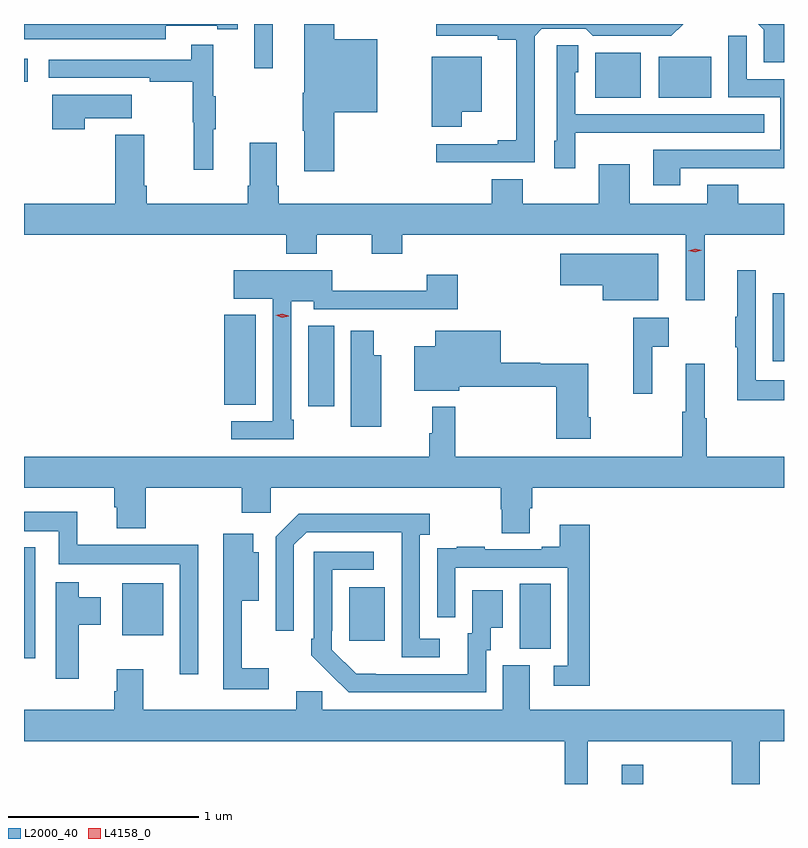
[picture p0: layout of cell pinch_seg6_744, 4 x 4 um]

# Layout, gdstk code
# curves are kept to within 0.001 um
import gdstk
lib = gdstk.Library(unit=1e-6, precision=1e-09)
def R(c, l, rs):  # rectangles x0, y0, x1, y1
    for r in rs: c.add(gdstk.rectangle(r[:2], r[2:], *l))
def P(c, l, *ps):  # polygons
    for p in ps: c.add(gdstk.Polygon(p, *l))
L2000_40 = (2000, 40)
L4158_0 = (4158, 0)

pinch_seg6_744 = lib.new_cell('pinch_seg6_744')
R(pinch_seg6_744, L2000_40, [(305.537,989.734,305.651,989.836), (302.392,990.396,302.451,990.979), (305,990.445,305.164,990.788), (304.103,990.489,304.291,990.769), (302.909,990.518,303.124,990.79), (303.887,991.722,304.024,992.147), (303.446,991.729,303.613,992.203), (306.332,991.958,306.392,992.317), (305.399,993.347,305.638,993.583), (305.732,993.347,306.01,993.562), (302.392,993.429,302.413,993.55), (303.603,993.501,303.7,993.734)])
P(pinch_seg6_744, L2000_40, [(304.025,993.269),(304.252,993.269),(304.252,993.655),(304.025,993.655),(304.025,993.734),(303.866,993.734),(303.866,993.373),(303.859,993.373),(303.859,993.173),(303.866,993.173),(303.866,992.958),(304.025,992.958)],
  [(303.138,993.726),(303.41,993.726),(303.41,993.706),(303.518,993.706),(303.518,993.734),(302.392,993.734),(302.392,993.654),(303.138,993.654)],
  [(306.392,993.734),(306.256,993.734),(306.285,993.705),(306.285,993.534),(306.392,993.534)],
  [(305.079,993.669),(305.118,993.708),(305.349,993.708),(305.385,993.672),(305.799,993.672),(305.861,993.734),(304.563,993.734),(304.563,993.672),(304.886,993.672),(304.886,993.65),(304.982,993.65),(304.982,993.122),(304.886,993.122),(304.886,993.102),(304.563,993.102),(304.563,993.006),(305.079,993.006)],
  [(305.845,992.976),(306.275,992.976),(306.275,992.975),(306.392,992.975),(306.392,993.444),(306.195,993.444),(306.195,993.673),(306.099,993.673),(306.099,993.348),(306.372,993.348),(306.372,993.072),(305.705,993.072),(305.705,992.886),(305.845,992.886)],
  [(303.389,993.179),(303.4,993.179),(303.4,993.353),(303.389,993.353),(303.389,993.625),(303.271,993.625),(303.271,993.546),(302.523,993.546),(302.523,993.45),(303.055,993.45),(303.055,993.43),(303.279,993.43),(303.279,993.216),(303.286,993.216),(303.286,992.967),(303.389,992.967)],
  [(305.292,993.161),(305.609,993.161),(305.609,993.162),(306.287,993.162),(306.287,993.258),(305.292,993.258),(305.292,993.48),(305.308,993.48),(305.308,993.623),(305.196,993.623),(305.196,993.12),(305.183,993.12),(305.183,992.976),(305.292,992.976)],
  [(304.696,993.272),(304.801,993.272),(304.801,993.562),(304.538,993.562),(304.538,993.192),(304.696,993.192)],
  [(302.711,993.239),(302.959,993.239),(302.959,993.361),(302.54,993.361),(302.54,993.18),(302.711,993.18)],
  [(305.974,992.624),(306.392,992.624),(306.392,992.788),(306.151,992.788),(306.151,992.887),(305.987,992.887),(305.987,992.788),(305.581,992.788),(305.581,992.995),(305.417,992.995),(305.417,992.788),(305.017,992.788),(305.017,992.917),(304.853,992.917),(304.853,992.788),(303.734,992.788),(303.734,992.884),(303.721,992.884),(303.721,993.109),(303.581,993.109),(303.581,992.884),(303.569,992.884),(303.569,992.788),(303.038,992.788),(303.038,992.884),(303.025,992.884),(303.025,993.151),(302.873,993.151),(302.873,992.788),(302.392,992.788),(302.392,992.624),(303.773,992.624),(303.773,992.525),(303.933,992.525),(303.933,992.624),(304.222,992.624),(304.222,992.525),(304.382,992.525),(304.382,992.624),(305.876,992.624),(305.876,992.28),(305.974,992.28)],
  [(305.731,992.524),(305.214,992.524),(305.214,992.359),(305.438,992.359),(305.438,992.279),(305.731,992.279)],
  [(306.392,991.858),(306.243,991.858),(306.243,992.437),(306.146,992.437),(306.146,992.192),(306.135,992.192),(306.135,992.032),(306.146,992.032),(306.146,991.754),(306.392,991.754)],
  [(303.811,991.651),(303.798,991.651),(303.798,992.276),(303.918,992.276),(303.918,992.232),(304.676,992.232),(304.676,992.413),(304.511,992.413),(304.511,992.33),(304.014,992.33),(304.014,992.437),(303.495,992.437),(303.495,992.288),(303.702,992.288),(303.702,991.644),(303.483,991.644),(303.483,991.548),(303.811,991.548)],
  [(305.699,992.036),(305.785,992.036),(305.785,992.188),(305.599,992.188),(305.599,991.788),(305.699,991.788)],
  [(305.375,991.663),(305.362,991.663),(305.362,991.945),(305.108,991.945),(305.108,991.952),(304.9,991.952),(304.9,992.119),(304.556,992.119),(304.556,992.038),(304.445,992.038),(304.445,991.805),(304.684,991.805),(304.684,991.824),(305.192,991.824),(305.192,991.551),(305.375,991.551)],
  [(304.273,991.99),(304.234,991.99),(304.234,992.119),(304.112,992.119),(304.112,991.613),(304.273,991.613)],
  [(305.053,991.186),(305.066,991.186),(305.066,991.292),(306.392,991.292),(306.392,991.456),(305.986,991.456),(305.986,991.658),(305.974,991.658),(305.974,991.945),(305.876,991.945),(305.876,991.692),(305.857,991.692),(305.857,991.456),(304.661,991.456),(304.661,991.72),(304.54,991.72),(304.54,991.58),(304.525,991.58),(304.525,991.456),(302.392,991.456),(302.392,991.292),(302.867,991.292),(302.867,991.191),(302.879,991.191),(302.879,991.079),(303.032,991.079),(303.032,991.292),(303.539,991.292),(303.539,991.161),(303.69,991.161),(303.69,991.292),(304.901,991.292),(304.901,991.179),(304.906,991.179),(304.906,991.054),(305.053,991.054)],
  [(303.31,990.994),(302.672,990.994),(302.672,991.168),(302.392,991.168),(302.392,991.064),(302.574,991.064),(302.574,990.89),(303.213,990.89),(303.213,990.312),(303.31,990.312)],
  [(304.579,990.498),(304.476,990.498),(304.476,991.046),(304.528,991.046),(304.528,991.156),(303.838,991.156),(303.717,991.035),(303.717,990.54),(303.813,990.54),(303.813,990.993),(303.879,991.059),(304.38,991.059),(304.38,990.402),(304.579,990.402)],
  [(305.369,991.099),(305.213,991.099),(305.213,990.982),(305.117,990.982),(305.117,990.969),(304.817,990.969),(304.817,990.982),(304.669,990.982),(304.669,990.975),(304.567,990.975),(304.567,990.866),(304.566,990.866),(304.566,990.612),(304.662,990.612),(304.662,990.873),(305.253,990.873),(305.253,990.357),(305.181,990.357),(305.181,990.252),(305.369,990.252)],
  [(303.679,990.343),(303.539,990.343),(303.539,990.698),(303.628,990.698),(303.628,990.955),(303.598,990.955),(303.598,991.051),(303.44,991.051),(303.44,990.234),(303.679,990.234)],
  [(304.824,990.438),(304.849,990.438),(304.849,990.557),(304.912,990.557),(304.912,990.754),(304.751,990.754),(304.751,990.528),(304.727,990.528),(304.727,990.312),(304.14,990.313),(304.011,990.441),(304.011,990.541),(304.014,990.541),(304.014,990.861),(304.234,990.861),(304.234,990.957),(303.918,990.957),(303.918,990.499),(303.903,990.499),(303.903,990.411),(304.1,990.216),(304.824,990.216)],
  [(302.68,990.571),(302.797,990.571),(302.797,990.718),(302.68,990.718),(302.68,990.796),(302.558,990.796),(302.558,990.288),(302.68,990.288)],
  [(305.359,989.96),(306.118,989.96),(306.118,989.734),(306.265,989.734),(306.265,989.96),(306.392,989.96),(306.392,990.124),(305.053,990.124),(305.053,990.36),(304.913,990.36),(304.913,990.124),(303.963,990.124),(303.963,990.222),(303.824,990.222),(303.824,990.124),(303.019,990.124),(303.019,990.337),(302.879,990.337),(302.879,990.222),(302.867,990.222),(302.867,990.124),(302.392,990.124),(302.392,989.96),(305.238,989.96),(305.238,989.734),(305.359,989.734)])
P(pinch_seg6_744, L4158_0, [(303.75,992.189),(303.716,992.2),(303.716,992.2),(303.716,992.2),(303.751,992.209),(303.786,992.198),(303.786,992.197),(303.786,992.197)],
  [(305.925,992.532),(305.889,992.541),(305.889,992.541),(305.889,992.541),(305.924,992.552),(305.96,992.542),(305.96,992.542),(305.96,992.542)])

lib.write_gds('pinch_seg6_744.gds')
